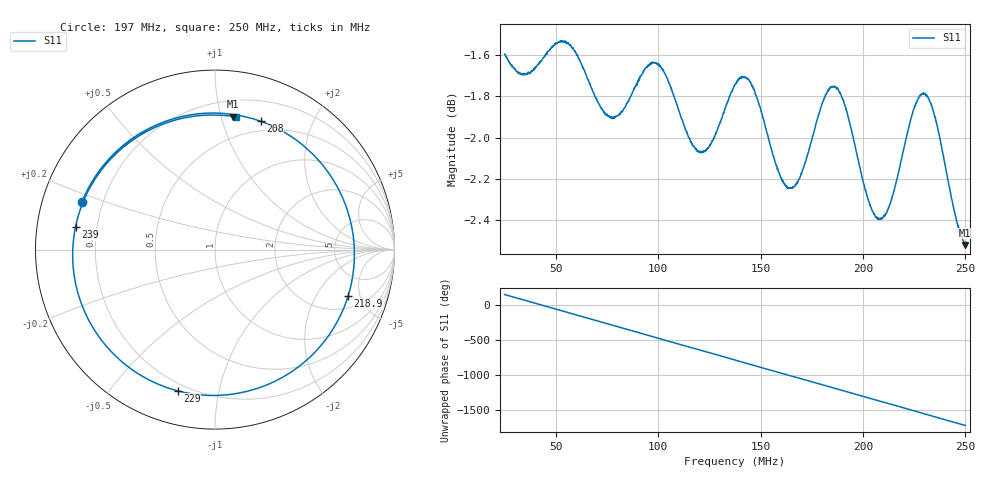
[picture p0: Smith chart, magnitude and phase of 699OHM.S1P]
!Agilent Technologies,E5071C,MY46214392,A.11.36
!Date: Fri Apr 24 09:58:04 2026
!Data & Calibration Information:
!Freq	S11:SOLT1(ON)
!PortZ  Port1:50+j0
!Above PortZ is port z conversion or system Z0 setting when saving the data.
!When reading, reference impedance value at option line is always used.
# Hz S RI R 50
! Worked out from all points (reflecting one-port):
!   1601 points, 25 MHz to 250 MHz, reference 50 ohm
!   lowest |S11| = -2.5 dB at 249.9 MHz (marker M1), VSWR 6.94, Z = 16.2 + j54.6 ohm
!   phase of S11 starts at 151 deg and turns -1870 deg over the sweep
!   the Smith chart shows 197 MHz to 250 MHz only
!   S11 on the Smith chart (normalised r, x): 197 MHz: 0.12, +0.17; 208 MHz: 0.40, +1.34; 218.9 MHz: 2.86, -3.87; 229 MHz: 0.16, -0.76; 239 MHz: 0.12, +0.08; 250 MHz: 0.33, +1.11
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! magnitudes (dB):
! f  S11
! 25 MHz  -1.6
! 35.83 MHz  -1.7
! 53.12 MHz  -1.5
! 73.66 MHz  -1.9
! 81.25 MHz  -1.9
! 97.7 MHz  -1.6
! 109.4 MHz  -1.8
! 116.3 MHz  -2.0
! 122.2 MHz  -2.1
! 137.5 MHz  -1.7
! 145.1 MHz  -1.7
! 159.3 MHz  -2.2
! 165.6 MHz  -2.2
! 183.8 MHz  -1.8
! 188.4 MHz  -1.8
! 193.8 MHz  -1.9
! 197 MHz  -2.1
! 203 MHz  -2.3
! 208 MHz  -2.4
! 212.6 MHz  -2.3
! 218.9 MHz  -2.1
! 221.9 MHz  -2.0
! 229 MHz  -1.8
! 233.7 MHz  -1.8
! 239 MHz  -2.1
! 245.4 MHz  -2.4
! 249.9 MHz  -2.5
! 250 MHz  -2.5
